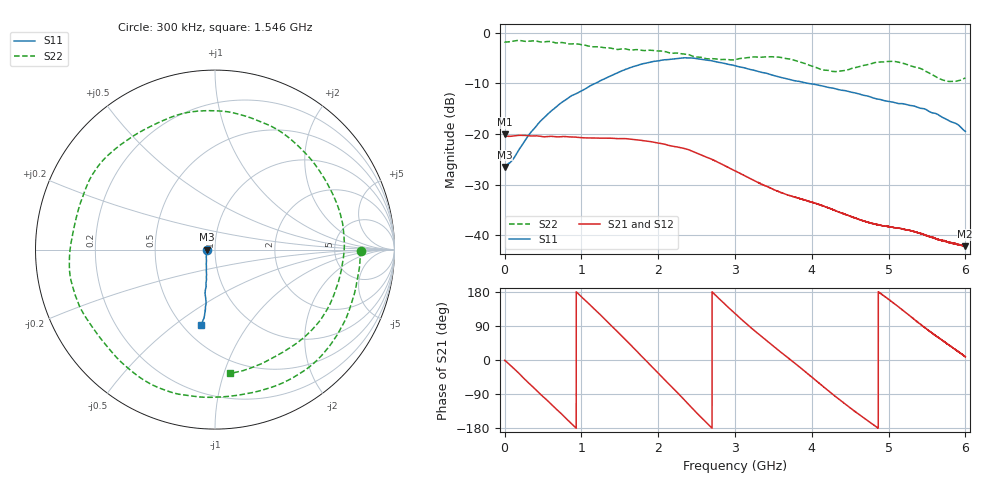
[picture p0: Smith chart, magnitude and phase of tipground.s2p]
!  8/6/2020  03:16:27
! Ref Plane: 0.000 mm
# MHZ S MA R  50
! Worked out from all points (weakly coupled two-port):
!   10001 points, 300 kHz to 6 GHz, reference 50 ohm
!   highest |S21| = -20.08 dB at 300 kHz (marker M1); lowest = -42.2 dB at 5.999 GHz (marker M2)
!   lowest |S11| = -26.5 dB at 300 kHz (marker M3), VSWR 1.10, Z = 45.5 + j0.00526 ohm
!   |S11| at or under -10 dB: start of sweep to 1.182 GHz; 3.946 GHz to end of sweep
!   |S22| runs from -9.6 to -1.5 dB; largest |S21 - S12| = 0.0028
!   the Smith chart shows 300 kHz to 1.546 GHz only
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0.3  0.04725 179.9  0.09906 -1.1  0.09628 -0.8  0.814 -0.5
303.8848  0.09492 -120.9  0.09605 -58.9  0.09637 -59.0  0.8215 -88.2
590.6705  0.1646 -107.0  0.09458 -113.5  0.0949 -113.4  0.8205 -168.9
816.8592  0.2228 -103.5  0.09383 -157.5  0.0941 -157.6  0.7806 126.9
1000.45  0.2658 -101.4  0.09193 166.7  0.09204 166.8  0.7617 75.8
1260.837  0.3398 -99.1  0.09101 116.6  0.09116 116.6  0.72 -0.1
1545.223  0.4253 -100.2  0.08993 59.8  0.09007 59.7  0.6941 -83.0
1787.611  0.4911 -104.0  0.08627 9.3  0.08655 9.4  0.6706 -150.4
2000.6  0.5269 -108.2  0.08124 -34.8  0.08149 -34.8  0.6603 152.8
2259.787  0.5568 -113.2  0.07396 -88.2  0.07441 -88.3  0.6284 84.8
2541.173  0.549 -120.0  0.06287 -147.7  0.06298 -147.9  0.5743 7.5
2785.361  0.5102 -123.2  0.05206 163.3  0.05209 163.4  0.5451 -63.8
3000.15  0.472 -124.2  0.04317 122.6  0.04317 122.7  0.5419 -127.2
3241.938  0.427 -124.2  0.0348 79.4  0.03475 79.4  0.5762 167.1
3524.524  0.3744 -122.2  0.02777 32.5  0.02766 32.4  0.5761 96.2
4000.3  0.3121 -114.6  0.02112 -45.0  0.02106 -45.0  0.4684 -27.1
4231.288  0.2868 -111.5  0.01838 -83.7  0.01845 -83.6  0.4222 -98.9
4503.675  0.2599 -107.8  0.01534 -127.0  0.01544 -126.9  0.4393 174.7
5000.45  0.2094 -99.2  0.01215 160.1  0.01215 160.1  0.52 48.5
5514.024  0.1689 -90.9  0.009792 79.0  0.009846 79.0  0.4052 -76.3
5998.8  0.106 -82.2  0.007779 9.3  0.007846 8.6  0.3565 125.4
6000  0.1059 -82.3  0.007843 8.7  0.007839 8.4  0.3567 125.0
